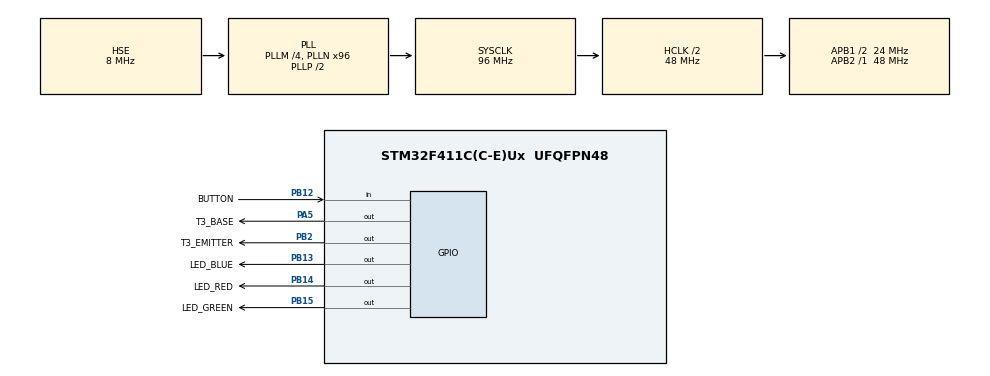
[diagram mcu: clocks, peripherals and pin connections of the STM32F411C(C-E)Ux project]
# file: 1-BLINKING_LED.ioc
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Mcu.Family=STM32F4
Mcu.Name=STM32F411C(C-E)Ux
Mcu.Package=UFQFPN48
NVIC.PriorityGroup=NVIC_PRIORITYGROUP_4
PA5.GPIO_Label=T3_BASE
PA5.Signal=GPIO_Output
PB12.GPIO_Label=BUTTON
PB12.Signal=GPIO_Input
PB13.GPIO_Label=LED_BLUE
PB13.Signal=GPIO_Output
PB14.GPIO_Label=LED_RED
PB14.Signal=GPIO_Output
PB15.GPIO_Label=LED_GREEN
PB15.Signal=GPIO_Output
PB2.GPIO_Label=T3_EMITTER
PB2.Signal=GPIO_Output
PC14-OSC32_IN.Mode=LSE-External-Oscillator
PC14-OSC32_IN.Signal=RCC_OSC32_IN
PC15-OSC32_OUT.Mode=LSE-External-Oscillator
PC15-OSC32_OUT.Signal=RCC_OSC32_OUT
PH0\ -\ OSC_IN.Mode=HSE-External-Oscillator
PH0\ -\ OSC_IN.Signal=RCC_OSC_IN
PH1\ -\ OSC_OUT.Mode=HSE-External-Oscillator
PH1\ -\ OSC_OUT.Signal=RCC_OSC_OUT
ProjectManager.HeapSize=0x400
ProjectManager.StackSize=0x200
ProjectManager.TargetToolchain=SW4STM32
RCC.48MHZClocksFreq_Value=48000000
RCC.AHBCLKDivider=RCC_SYSCLK_DIV2
RCC.AHBFreq_Value=48000000
RCC.APB1CLKDivider=RCC_HCLK_DIV2
RCC.APB1Freq_Value=24000000
RCC.APB1TimCLKDivider=1
RCC.APB1TimFreq_Value=24000000
RCC.APB2Freq_Value=48000000
RCC.APB2TimFreq_Value=48000000
RCC.CortexFreq_Value=48000000
RCC.HCLKFreq_Value=48000000
RCC.HSE_VALUE=8000000
RCC.HSI_VALUE=16000000
RCC.PLLM=4
RCC.PLLN=96
RCC.PLLSourceVirtual=RCC_PLLSOURCE_HSE
RCC.SYSCLKFreq_VALUE=96000000
RCC.SYSCLKSource=RCC_SYSCLKSOURCE_PLLCLK
RCC.VCOOutputFreq_Value=192000000
board=1-BLINKING_LED

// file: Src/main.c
/**
  ******************************************************************************
  * File Name          : main.c
  * Description        : Main program body
  ******************************************************************************
  *
  * COPYRIGHT(c) 2016 STMicroelectronics
  *
  * Redistribution and use in source and binary forms, with or without modification,
  * are permitted provided that the following conditions are met:
  *   1. Redistributions of source code must retain the above copyright notice,
  *      this list of conditions and the following disclaimer.
  *   2. Redistributions in binary form must reproduce the above copyright notice,
  *      this list of conditions and the following disclaimer in the documentation
  *      and/or other materials provided with the distribution.
  *   3. Neither the name of STMicroelectronics nor the names of its contributors
  *      may be used to endorse or promote products derived from this software
  *      without specific prior written permission.
  *
  * THIS SOFTWARE IS PROVIDED BY THE COPYRIGHT HOLDERS AND CONTRIBUTORS "AS IS"
  * AND ANY EXPRESS OR IMPLIED WARRANTIES, INCLUDING, BUT NOT LIMITED TO, THE
  * IMPLIED WARRANTIES OF MERCHANTABILITY AND FITNESS FOR A PARTICULAR PURPOSE ARE
  * DISCLAIMED. IN NO EVENT SHALL THE COPYRIGHT HOLDER OR CONTRIBUTORS BE LIABLE
  * FOR ANY DIRECT, INDIRECT, INCIDENTAL, SPECIAL, EXEMPLARY, OR CONSEQUENTIAL
  * DAMAGES (INCLUDING, BUT NOT LIMITED TO, PROCUREMENT OF SUBSTITUTE GOODS OR
  * SERVICES; LOSS OF USE, DATA, OR PROFITS; OR BUSINESS INTERRUPTION) HOWEVER
  * CAUSED AND ON ANY THEORY OF LIABILITY, WHETHER IN CONTRACT, STRICT LIABILITY,
  * OR TORT (INCLUDING NEGLIGENCE OR OTHERWISE) ARISING IN ANY WAY OUT OF THE USE
  * OF THIS SOFTWARE, EVEN IF ADVISED OF THE POSSIBILITY OF SUCH DAMAGE.
  *
  ******************************************************************************
  */
#include "stm32f4xx_hal.h"

/* USER CODE BEGIN PV */
/* Private variables ---------------------------------------------------------*/

/* USER CODE END PV */

void SystemClock_Config(void);
static void MX_GPIO_Init(void);

/* USER CODE BEGIN PFP */
/* Private function prototypes -----------------------------------------------*/

/* USER CODE END PFP */

/* USER CODE BEGIN 0 */
void redON() {
	HAL_GPIO_WritePin(LED_RED_GPIO_Port, LED_RED_Pin, 0);
	HAL_Delay(500);
}

void redOFF() {
	HAL_GPIO_WritePin(LED_RED_GPIO_Port, LED_RED_Pin, 1);
	HAL_Delay(500);
}

void greenON() {
	HAL_GPIO_WritePin(LED_GREEN_GPIO_Port, LED_GREEN_Pin, 0);
	HAL_Delay(500);
}

void greenOFF() {
	HAL_GPIO_WritePin(LED_GREEN_GPIO_Port, LED_GREEN_Pin, 1);
	HAL_Delay(500);
}

void blueON() {
	HAL_GPIO_WritePin(LED_BLUE_GPIO_Port, LED_BLUE_Pin, 0);
	HAL_Delay(500);
}

void blueOFF() {
	HAL_GPIO_WritePin(LED_BLUE_GPIO_Port, LED_BLUE_Pin, 1);
	HAL_Delay(500);
}
/* USER CODE END 0 */

int main(void)
{

  /* MCU Configuration----------------------------------------------------------*/

  /* Reset of all peripherals, Initializes the Flash interface and the Systick. */
  HAL_Init();

  /* Configure the system clock */
  SystemClock_Config();

  /* Initialize all configured peripherals */
  MX_GPIO_Init();

  /* USER CODE BEGIN 2 */
  HAL_GPIO_WritePin(LED_RED_GPIO_Port, LED_RED_Pin, 1);
  HAL_GPIO_WritePin(LED_GREEN_GPIO_Port, LED_GREEN_Pin, 1);
  HAL_GPIO_WritePin(LED_BLUE_GPIO_Port, LED_BLUE_Pin, 1);
  /* USER CODE END 2 */

  /* Infinite loop */
  while (1)
  {

  /* USER CODE BEGIN 3 */
	  redON();
	  blueOFF();
	  greenON();
	  redOFF();
	  blueON();
	  greenOFF();
  }
  /* USER CODE END 3 */

}

/** System Clock Configuration
*/
void SystemClock_Config(void)
{

  RCC_OscInitTypeDef RCC_OscInitStruct;
  RCC_ClkInitTypeDef RCC_ClkInitStruct;

  __PWR_CLK_ENABLE();

  __HAL_PWR_VOLTAGESCALING_CONFIG(PWR_REGULATOR_VOLTAGE_SCALE1);

  RCC_OscInitStruct.OscillatorType = RCC_OSCILLATORTYPE_HSE;
  RCC_OscInitStruct.HSEState = RCC_HSE_ON;
  RCC_OscInitStruct.PLL.PLLState = RCC_PLL_ON;
  RCC_OscInitStruct.PLL.PLLSource = RCC_PLLSOURCE_HSE;
  RCC_OscInitStruct.PLL.PLLM = 4;
  RCC_OscInitStruct.PLL.PLLN = 96;
  RCC_OscInitStruct.PLL.PLLP = RCC_PLLP_DIV2;
  RCC_OscInitStruct.PLL.PLLQ = 4;
  HAL_RCC_OscConfig(&RCC_OscInitStruct);

  RCC_ClkInitStruct.ClockType = RCC_CLOCKTYPE_HCLK|RCC_CLOCKTYPE_SYSCLK
                              |RCC_CLOCKTYPE_PCLK1|RCC_CLOCKTYPE_PCLK2;
  RCC_ClkInitStruct.SYSCLKSource = RCC_SYSCLKSOURCE_PLLCLK;
  RCC_ClkInitStruct.AHBCLKDivider = RCC_SYSCLK_DIV2;
  RCC_ClkInitStruct.APB1CLKDivider = RCC_HCLK_DIV2;
  RCC_ClkInitStruct.APB2CLKDivider = RCC_HCLK_DIV1;
  HAL_RCC_ClockConfig(&RCC_ClkInitStruct, FLASH_LATENCY_1);

  HAL_SYSTICK_Config(HAL_RCC_GetHCLKFreq()/1000);

  HAL_SYSTICK_CLKSourceConfig(SYSTICK_CLKSOURCE_HCLK);

  /* SysTick_IRQn interrupt configuration */
  HAL_NVIC_SetPriority(SysTick_IRQn, 0, 0);
}

/** Configure pins as
        * Analog
        * Input
        * Output
        * EVENT_OUT
        * EXTI
*/
void MX_GPIO_Init(void)
{

  GPIO_InitTypeDef GPIO_InitStruct;

  /* GPIO Ports Clock Enable */
  __GPIOC_CLK_ENABLE();
  __GPIOH_CLK_ENABLE();
  __GPIOA_CLK_ENABLE();
  __GPIOB_CLK_ENABLE();

  /*Configure GPIO pin Output Level */
  HAL_GPIO_WritePin(T3_BASE_GPIO_Port, T3_BASE_Pin, GPIO_PIN_RESET);

  /*Configure GPIO pin Output Level */
  HAL_GPIO_WritePin(GPIOB, T3_EMITTER_Pin|LED_BLUE_Pin|LED_RED_Pin|LED_GREEN_Pin, GPIO_PIN_RESET);

  /*Configure GPIO pin : T3_BASE_Pin */
  GPIO_InitStruct.Pin = T3_BASE_Pin;
  GPIO_InitStruct.Mode = GPIO_MODE_OUTPUT_PP;
  GPIO_InitStruct.Pull = GPIO_NOPULL;
  GPIO_InitStruct.Speed = GPIO_SPEED_LOW;
  HAL_GPIO_Init(T3_BASE_GPIO_Port, &GPIO_InitStruct);

  /*Configure GPIO pins : T3_EMITTER_Pin LED_BLUE_Pin LED_RED_Pin LED_GREEN_Pin */
  GPIO_InitStruct.Pin = T3_EMITTER_Pin|LED_BLUE_Pin|LED_RED_Pin|LED_GREEN_Pin;
  GPIO_InitStruct.Mode = GPIO_MODE_OUTPUT_PP;
  GPIO_InitStruct.Pull = GPIO_NOPULL;
  GPIO_InitStruct.Speed = GPIO_SPEED_LOW;
  HAL_GPIO_Init(GPIOB, &GPIO_InitStruct);

  /*Configure GPIO pin : BUTTON_Pin */
  GPIO_InitStruct.Pin = BUTTON_Pin;
  GPIO_InitStruct.Mode = GPIO_MODE_INPUT;
  GPIO_InitStruct.Pull = GPIO_NOPULL;
  HAL_GPIO_Init(BUTTON_GPIO_Port, &GPIO_InitStruct);

}

/************************ (C) COPYRIGHT STMicroelectronics *****END OF FILE****/
